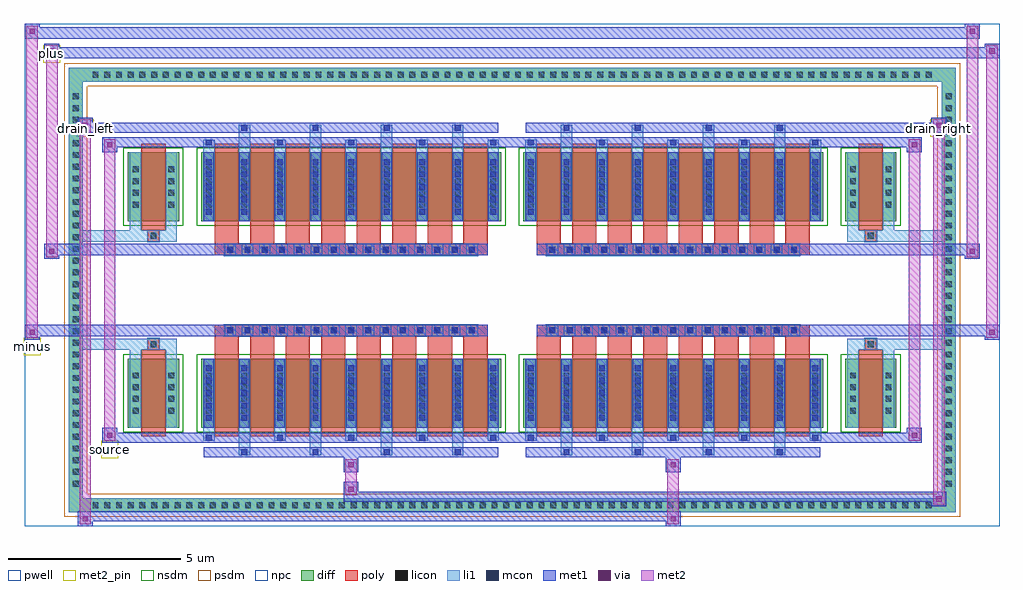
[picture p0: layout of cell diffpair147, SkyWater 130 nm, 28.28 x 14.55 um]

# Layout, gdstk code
import gdstk
lib = gdstk.Library(unit=1e-6, precision=5e-09)
def R(c, l, rs):  # rectangles x0, y0, x1, y1
    for r in rs: c.add(gdstk.rectangle(r[:2], r[2:], *l))
def A(c, l, x, y, w, h, nx, ny, dx, dy):  # array of equal rectangles
    R(c, l, [(x+i*dx, y+j*dy, x+i*dx+w, y+j*dy+h) for i in range(nx) for j in range(ny)])
def P(c, l, *ps):  # polygons
    for p in ps: c.add(gdstk.Polygon(p, *l))
pwell = (64, 44)
diff = (65, 20)
poly = (66, 20)
licon = (66, 44)
li1 = (67, 20)
mcon = (67, 44)
met1 = (68, 20)
via = (68, 44)
met2_pin = (69, 16)
met2 = (69, 20)
nsdm = (93, 44)
psdm = (94, 20)
npc = (95, 20)

diffpair147 = lib.new_cell('diffpair147')
R(diffpair147, pwell, [(-14.12,-6.84,14.12,7.71), (-11.44,-5.03,-0.01,-0.805), (0.01,-5.03,11.44,-0.805), (-11.44,0.805,-0.01,5.03), (0.01,0.805,11.44,5.03)])
A(diffpair147, diff, -12.275, -6.44, 0.41, 0.41, 72, 2, 0.34, 12.47)
A(diffpair147, diff, -12.85, -5.815, 0.41, 0.41, 1, 34, 0, 0.34)
A(diffpair147, diff, 12.44, -5.815, 0.41, 0.41, 1, 34, 0, 0.34)
R(diffpair147, diff, [(-12.275,-6.44,12.275,-6.03), (-12.85,-5.815,-12.44,5.815), (12.44,-5.815,12.85,5.815), (-11.13,-3.985,-9.65,-1.985), (-9.01,-3.985,-0.32,-1.985), (0.32,-3.985,9.01,-1.985), (9.65,-3.985,11.13,-1.985), (-11.13,1.985,-9.65,3.985), (-9.01,1.985,-0.32,3.985), (0.32,1.985,9.01,3.985), (9.65,1.985,11.13,3.985), (-12.275,6.03,12.275,6.44)])
P(diffpair147, diff, [(12.85,6.44),(-12.85,6.44),(-12.85,-6.03),(-12.44,-6.03),(-12.44,6.03),(12.44,6.03),(12.44,-6.03),(-12.44,-6.03),(-12.85,-6.03),(-12.85,-6.44),(12.85,-6.44)])
A(diffpair147, poly, -8.62, -4.235, 0.7, 2.5, 8, 2, 1.03, 5.97)
A(diffpair147, poly, 0.71, -4.235, 0.7, 2.5, 8, 2, 1.03, 5.97)
A(diffpair147, poly, -8.62, -1.735, 0.7, 0.4, 8, 2, 1.03, 3.07)
A(diffpair147, poly, 0.71, -1.735, 0.7, 0.4, 8, 2, 1.03, 3.07)
A(diffpair147, poly, -8.33, -1.335, 0.33, 0.33, 15, 2, 0.5, 2.34)
A(diffpair147, poly, 1, -1.335, 0.33, 0.33, 15, 2, 0.5, 2.34)
R(diffpair147, poly, [(-10.74,-4.235,-10.04,-1.735), (10.04,-4.235,10.74,-1.735), (-10.555,-1.735,-10.225,-1.405), (-10.555,-1.735,-10.225,-1.405), (10.225,-1.735,10.555,-1.405), (10.225,-1.735,10.555,-1.405), (-8.62,-1.335,-0.71,-1.005), (0.71,-1.335,8.62,-1.005), (-8.62,1.005,-0.71,1.335), (0.71,1.005,8.62,1.335), (-10.555,1.405,-10.225,1.735), (-10.555,1.405,-10.225,1.735), (10.225,1.405,10.555,1.735), (10.225,1.405,10.555,1.735), (-10.74,1.735,-10.04,4.235), (10.04,1.735,10.74,4.235)])
A(diffpair147, licon, -12.155, -6.32, 0.17, 0.17, 72, 2, 0.34, 12.47)
A(diffpair147, licon, -12.73, -5.695, 0.17, 0.17, 1, 34, 0, 0.34)
A(diffpair147, licon, 12.56, -5.695, 0.17, 0.17, 1, 34, 0, 0.34)
A(diffpair147, licon, -10.99, -3.58, 0.17, 0.17, 1, 4, 0, 0.34)
A(diffpair147, licon, -9.96, -3.58, 0.17, 0.17, 1, 4, 0, 0.34)
A(diffpair147, licon, -8.87, -3.58, 0.17, 0.17, 9, 4, 1.03, 0.34)
A(diffpair147, licon, 0.46, -3.58, 0.17, 0.17, 9, 4, 1.03, 0.34)
A(diffpair147, licon, 9.79, -3.58, 0.17, 0.17, 1, 4, 0, 0.34)
A(diffpair147, licon, 10.82, -3.58, 0.17, 0.17, 1, 4, 0, 0.34)
A(diffpair147, licon, -8.25, -1.255, 0.17, 0.17, 15, 2, 0.5, 2.34)
A(diffpair147, licon, 1.08, -1.255, 0.17, 0.17, 15, 2, 0.5, 2.34)
A(diffpair147, licon, -10.99, 2.39, 0.17, 0.17, 1, 4, 0, 0.34)
A(diffpair147, licon, -9.96, 2.39, 0.17, 0.17, 1, 4, 0, 0.34)
A(diffpair147, licon, -8.87, 2.39, 0.17, 0.17, 9, 4, 1.03, 0.34)
A(diffpair147, licon, 0.46, 2.39, 0.17, 0.17, 9, 4, 1.03, 0.34)
A(diffpair147, licon, 9.79, 2.39, 0.17, 0.17, 1, 4, 0, 0.34)
A(diffpair147, licon, 10.82, 2.39, 0.17, 0.17, 1, 4, 0, 0.34)
R(diffpair147, licon, [(-10.475,-1.655,-10.305,-1.485), (10.305,-1.655,10.475,-1.485), (-10.475,1.485,-10.305,1.655), (10.305,1.485,10.475,1.655)])
A(diffpair147, li1, -12.235, -6.4, 0.33, 0.33, 72, 2, 0.34, 12.47)
A(diffpair147, li1, -12.81, -5.775, 0.33, 0.33, 1, 34, 0, 0.34)
A(diffpair147, li1, 12.48, -5.775, 0.33, 0.33, 1, 34, 0, 0.34)
A(diffpair147, li1, -7.92, -4.79, 0.33, 0.805, 4, 2, 2.06, 8.775)
A(diffpair147, li1, -7.84, -4.79, 0.17, 0.17, 4, 2, 2.06, 9.41)
A(diffpair147, li1, 1.41, -4.79, 0.33, 0.805, 4, 2, 2.06, 8.775)
A(diffpair147, li1, 1.49, -4.79, 0.17, 0.17, 4, 2, 2.06, 9.41)
A(diffpair147, li1, -8.95, -4.36, 0.33, 0.375, 5, 2, 2.06, 8.345)
A(diffpair147, li1, -8.87, -4.36, 0.17, 0.17, 5, 2, 2.06, 8.55)
A(diffpair147, li1, 0.38, -4.36, 0.33, 0.375, 5, 2, 2.06, 8.345)
A(diffpair147, li1, 0.46, -4.36, 0.17, 0.17, 5, 2, 2.06, 8.55)
A(diffpair147, li1, -8.95, -3.985, 0.33, 2, 9, 2, 1.03, 5.97)
A(diffpair147, li1, 0.38, -3.985, 0.33, 2, 9, 2, 1.03, 5.97)
A(diffpair147, li1, -8.87, -3.79, 0.17, 0.17, 9, 5, 1.03, 0.36)
A(diffpair147, li1, -8.87, -3.79, 0.17, 1.61, 9, 2, 1.03, 5.97)
A(diffpair147, li1, 0.46, -3.79, 0.17, 0.17, 9, 5, 1.03, 0.36)
A(diffpair147, li1, 0.46, -3.79, 0.17, 1.61, 9, 2, 1.03, 5.97)
A(diffpair147, li1, -11.07, -3.66, 0.33, 0.33, 1, 4, 0, 0.34)
A(diffpair147, li1, -10.04, -3.66, 0.33, 0.33, 1, 4, 0, 0.34)
A(diffpair147, li1, -8.95, -3.66, 0.33, 0.33, 9, 4, 1.03, 0.34)
A(diffpair147, li1, 0.38, -3.66, 0.33, 0.33, 9, 4, 1.03, 0.34)
A(diffpair147, li1, 9.71, -3.66, 0.33, 0.33, 1, 4, 0, 0.34)
A(diffpair147, li1, 10.74, -3.66, 0.33, 0.33, 1, 4, 0, 0.34)
A(diffpair147, li1, -8.33, -1.335, 0.33, 0.33, 15, 2, 0.5, 2.34)
A(diffpair147, li1, 1, -1.335, 0.33, 0.33, 15, 2, 0.5, 2.34)
A(diffpair147, li1, -8.87, 2.18, 0.17, 0.17, 9, 5, 1.03, 0.36)
A(diffpair147, li1, 0.46, 2.18, 0.17, 0.17, 9, 5, 1.03, 0.36)
A(diffpair147, li1, -11.07, 2.31, 0.33, 0.33, 1, 4, 0, 0.34)
A(diffpair147, li1, -10.04, 2.31, 0.33, 0.33, 1, 4, 0, 0.34)
A(diffpair147, li1, -8.95, 2.31, 0.33, 0.33, 9, 4, 1.03, 0.34)
A(diffpair147, li1, 0.38, 2.31, 0.33, 0.33, 9, 4, 1.03, 0.34)
A(diffpair147, li1, 9.71, 2.31, 0.33, 0.33, 1, 4, 0, 0.34)
A(diffpair147, li1, 10.74, 2.31, 0.33, 0.33, 1, 4, 0, 0.34)
R(diffpair147, li1, [(-12.85,-6.44,-12.44,-6.03), (-12.85,-6.44,-12.44,-6.03), (-12.44,-6.44,12.44,-6.03), (12.44,-6.44,12.85,-6.03), (12.44,-6.44,12.85,-6.03), (-12.85,-6.03,-12.44,6.03), (12.44,-6.03,12.85,6.03), (-11.07,-3.985,-10.74,-1.985), (-10.04,-3.985,-9.71,-1.985), (9.71,-3.985,10.04,-1.985), (10.74,-3.985,11.07,-1.985), (-11.07,-1.985,-10.74,-1.405), (-10.04,-1.985,-9.71,-1.405), (9.71,-1.985,10.04,-1.405), (10.74,-1.985,11.07,-1.405), (-12.85,-1.735,-10.555,-1.405), (-11.07,-1.735,-10.555,-1.405), (-10.555,-1.735,-10.225,-1.405), (-10.225,-1.735,-9.71,-1.405), (9.71,-1.735,10.225,-1.405), (10.225,-1.735,10.555,-1.405), (10.225,-1.735,12.85,-1.405), (10.555,-1.735,11.07,-1.405), (-12.85,1.405,-10.555,1.735), (-11.07,1.405,-10.555,1.735), (-11.07,1.405,-10.74,1.985), (-10.555,1.405,-10.225,1.735), (-10.225,1.405,-9.71,1.735), (-10.04,1.405,-9.71,1.985), (9.71,1.405,10.225,1.735), (9.71,1.405,10.04,1.985), (10.225,1.405,10.555,1.735), (10.225,1.405,12.85,1.735), (10.555,1.405,11.07,1.735), (10.74,1.405,11.07,1.985), (-11.07,1.985,-10.74,3.985), (-10.04,1.985,-9.71,3.985), (9.71,1.985,10.04,3.985), (10.74,1.985,11.07,3.985), (-12.85,6.03,-12.44,6.44), (-12.85,6.03,-12.44,6.44), (-12.44,6.03,12.44,6.44), (12.44,6.03,12.85,6.44), (12.44,6.03,12.85,6.44)])
A(diffpair147, mcon, -7.84, -4.79, 0.17, 0.17, 4, 2, 2.06, 9.41)
A(diffpair147, mcon, 1.49, -4.79, 0.17, 0.17, 4, 2, 2.06, 9.41)
A(diffpair147, mcon, -8.87, -4.36, 0.17, 0.17, 5, 2, 2.06, 8.55)
A(diffpair147, mcon, 0.46, -4.36, 0.17, 0.17, 5, 2, 2.06, 8.55)
A(diffpair147, mcon, -8.87, -3.79, 0.17, 0.17, 9, 5, 1.03, 0.36)
A(diffpair147, mcon, 0.46, -3.79, 0.17, 0.17, 9, 5, 1.03, 0.36)
A(diffpair147, mcon, -8.25, -1.255, 0.17, 0.17, 15, 2, 0.5, 2.34)
A(diffpair147, mcon, 1.08, -1.255, 0.17, 0.17, 15, 2, 0.5, 2.34)
A(diffpair147, mcon, -8.87, 2.18, 0.17, 0.17, 9, 5, 1.03, 0.36)
A(diffpair147, mcon, 0.46, 2.18, 0.17, 0.17, 9, 5, 1.03, 0.36)
A(diffpair147, met1, -7.9, -4.85, 0.29, 0.29, 4, 2, 2.06, 9.41)
A(diffpair147, met1, 1.43, -4.85, 0.29, 0.29, 4, 2, 2.06, 9.41)
A(diffpair147, met1, -8.93, -4.42, 0.29, 0.29, 5, 2, 2.06, 8.55)
A(diffpair147, met1, 0.4, -4.42, 0.29, 0.29, 5, 2, 2.06, 8.55)
A(diffpair147, met1, -8.93, -3.985, 0.29, 2, 9, 2, 1.03, 5.97)
A(diffpair147, met1, 0.4, -3.985, 0.29, 2, 9, 2, 1.03, 5.97)
A(diffpair147, met1, -8.93, -3.85, 0.29, 0.29, 9, 5, 1.03, 0.36)
A(diffpair147, met1, 0.4, -3.85, 0.29, 0.29, 9, 5, 1.03, 0.36)
A(diffpair147, met1, -8.31, -1.315, 0.29, 0.29, 15, 2, 0.5, 2.34)
A(diffpair147, met1, 1.02, -1.315, 0.29, 0.29, 15, 2, 0.5, 2.34)
A(diffpair147, met1, -8.93, 2.12, 0.29, 0.29, 9, 5, 1.03, 0.36)
A(diffpair147, met1, 0.4, 2.12, 0.29, 0.29, 9, 5, 1.03, 0.36)
R(diffpair147, met1, [(-12.58,-6.84,-12.15,-6.41), (4.45,-6.84,4.88,-6.41), (-12.58,-6.7,4.88,-6.41), (12.15,-6.27,12.58,-5.84), (-4.88,-6.13,12.58,-5.84), (-4.88,-5.99,-4.45,-5.56), (-4.88,-5.28,-4.45,-4.85), (4.45,-5.28,4.88,-4.85), (-8.93,-4.85,-0.4,-4.56), (0.4,-4.85,8.93,-4.56), (-11.87,-4.42,-11.44,-3.99), (-11.87,-4.42,-8.93,-4.13), (-8.93,-4.42,-0.4,-4.13), (-0.4,-4.42,0.4,-4.13), (0.4,-4.42,8.93,-4.13), (8.93,-4.42,11.87,-4.13), (11.44,-4.42,11.87,-3.99), (-14.12,-1.435,-13.69,-1.005), (13.69,-1.435,14.12,-1.005), (-14.12,-1.335,-0.71,-1.005), (-8.62,-1.335,-0.71,-1.005), (0.71,-1.335,8.62,-1.005), (0.71,-1.335,14.12,-1.005), (-13.55,0.905,-13.12,1.335), (13.12,0.905,13.55,1.335), (-13.55,1.005,-8.62,1.335), (-8.62,1.005,-0.71,1.335), (0.71,1.005,8.62,1.335), (8.62,1.005,13.55,1.335), (-11.87,3.99,-11.44,4.42), (11.44,3.99,11.87,4.42), (-11.87,4.13,-8.93,4.42), (-8.93,4.13,-0.4,4.42), (-0.4,4.13,0.4,4.42), (0.4,4.13,8.93,4.42), (8.93,4.13,11.87,4.42), (-12.58,4.56,-12.15,4.99), (-12.58,4.56,-8.93,4.85), (-8.93,4.56,-0.4,4.85), (0.4,4.56,8.93,4.85), (8.93,4.56,12.58,4.85), (12.15,4.56,12.58,4.99), (-13.55,6.71,-13.12,7.14), (-13.55,6.71,-11.44,7.04), (-11.44,6.71,11.44,7.04), (11.44,6.71,14.12,7.04), (13.69,6.71,14.12,7.14), (-14.12,7.28,-13.69,7.71), (-14.12,7.28,-11.44,7.61), (-11.44,7.28,11.44,7.61), (11.44,7.28,13.55,7.61), (13.12,7.28,13.55,7.71)])
R(diffpair147, via, [(-12.44,-6.7,-12.29,-6.55), (4.59,-6.7,4.74,-6.55), (12.29,-6.13,12.44,-5.98), (-4.74,-5.85,-4.59,-5.7), (-4.74,-5.14,-4.59,-4.99), (4.59,-5.14,4.74,-4.99), (-11.73,-4.28,-11.58,-4.13), (11.58,-4.28,11.73,-4.13), (-13.98,-1.295,-13.83,-1.145), (13.83,-1.295,13.98,-1.145), (-13.41,1.045,-13.26,1.195), (13.26,1.045,13.41,1.195), (-11.73,4.13,-11.58,4.28), (11.58,4.13,11.73,4.28), (-12.44,4.7,-12.29,4.85), (12.29,4.7,12.44,4.85), (-13.41,6.85,-13.26,7), (13.83,6.85,13.98,7), (-13.98,7.42,-13.83,7.57), (13.26,7.42,13.41,7.57)])
R(diffpair147, met2_pin, [(-11.905,-4.87,-11.405,-4.37), (-14.155,-1.885,-13.655,-1.385), (-12.615,4.44,-12.115,4.94), (12.115,4.44,12.615,4.94), (-13.585,6.59,-13.085,7.09)])
R(diffpair147, met2, [(-12.53,-6.79,-12.2,-6.46), (-12.53,-6.79,-12.2,4.94), (4.5,-6.79,4.83,-6.46), (4.5,-6.46,4.83,-5.23), (12.2,-6.22,12.53,-5.89), (12.2,-6.22,12.53,4.94), (-4.83,-5.94,-4.5,-5.61), (-4.83,-5.61,-4.5,-5.23), (-4.83,-5.23,-4.5,-4.9), (4.5,-5.23,4.83,-4.9), (-11.82,-4.37,-11.49,-4.04), (-11.82,-4.37,-11.49,4.37), (11.49,-4.37,11.82,-4.04), (11.49,-4.37,11.82,4.37), (-14.07,-1.385,-13.74,-1.055), (-14.07,-1.385,-13.74,7.66), (13.74,-1.385,14.07,-1.055), (13.74,-1.385,14.07,7.09), (-13.5,0.955,-13.17,1.285), (-13.5,0.955,-13.17,7.09), (13.17,0.955,13.5,1.285), (13.17,0.955,13.5,7.66), (-11.82,4.04,-11.49,4.37), (11.49,4.04,11.82,4.37), (-12.53,4.61,-12.2,4.94), (12.2,4.61,12.53,4.94), (-13.5,6.76,-13.17,7.09), (13.74,6.76,14.07,7.09), (-14.07,7.33,-13.74,7.66), (13.17,7.33,13.5,7.66)])
P(diffpair147, met2, [(14.07,-1.385),(14.07,-1.385),(14.07,-1.055),(14.07,-1.055)],
  [(14.07,6.76),(14.07,6.76),(14.07,7.09),(14.07,7.09)],
  [(-13.74,-1.385),(-13.74,-1.385),(-13.74,-1.055),(-13.74,-1.055)],
  [(-13.74,7.33),(-13.74,7.33),(-13.74,7.66),(-13.74,7.66)],
  [(13.5,0.955),(13.5,0.955),(13.5,1.285),(13.5,1.285)],
  [(13.5,7.33),(13.5,7.33),(13.5,7.66),(13.5,7.66)],
  [(-13.17,0.955),(-13.17,0.955),(-13.17,1.285),(-13.17,1.285)],
  [(-13.17,6.76),(-13.17,6.76),(-13.17,7.09),(-13.17,7.09)],
  [(-12.2,-6.79),(-12.2,-6.79),(-12.2,-6.46),(-12.2,-6.46)],
  [(-12.2,4.61),(-12.2,4.61),(-12.2,4.94),(-12.2,4.94)],
  [(12.53,-6.22),(12.53,-6.22),(12.53,-5.89),(12.53,-5.89)],
  [(12.53,4.61),(12.53,4.61),(12.53,4.94),(12.53,4.94)],
  [(-11.49,-4.37),(-11.49,-4.37),(-11.49,-4.04),(-11.49,-4.04)],
  [(-11.49,4.04),(-11.49,4.04),(-11.49,4.37),(-11.49,4.37)],
  [(11.82,-4.37),(11.82,-4.37),(11.82,-4.04),(11.82,-4.04)],
  [(11.82,4.04),(11.82,4.04),(11.82,4.37),(11.82,4.37)])
R(diffpair147, nsdm, [(-11.26,-4.115,-9.52,-1.855), (-9.14,-4.115,-0.19,-1.855), (0.19,-4.115,9.14,-1.855), (9.52,-4.115,11.26,-1.855), (-11.26,1.855,-9.52,4.115), (-9.14,1.855,-0.19,4.115), (0.19,1.855,9.14,4.115), (9.52,1.855,11.26,4.115)])
P(diffpair147, psdm, [(12.98,6.57),(-12.98,6.57),(-12.98,-5.9),(-12.31,-5.9),(-12.31,5.9),(12.31,5.9),(12.31,-5.9),(-12.31,-5.9),(-12.98,-5.9),(-12.98,-6.57),(12.98,-6.57)])
A(diffpair147, npc, -8.35, -1.355, 0.37, 0.37, 15, 2, 0.5, 2.34)
A(diffpair147, npc, 0.98, -1.355, 0.37, 0.37, 15, 2, 0.5, 2.34)
R(diffpair147, npc, [(-10.575,-1.755,-10.205,-1.385), (10.205,-1.755,10.575,-1.385), (-8.35,-1.355,-7.48,-0.985), (-8.35,-1.355,-7.48,-0.985), (-7.85,-1.355,-6.98,-0.985), (-7.85,-1.355,-6.98,-0.985), (-7.35,-1.355,-6.48,-0.985), (-7.35,-1.355,-6.48,-0.985), (-6.85,-1.355,-5.98,-0.985), (-6.85,-1.355,-5.98,-0.985), (-6.35,-1.355,-5.48,-0.985), (-6.35,-1.355,-5.48,-0.985), (-5.85,-1.355,-4.98,-0.985), (-5.85,-1.355,-4.98,-0.985), (-5.35,-1.355,-4.48,-0.985), (-5.35,-1.355,-4.48,-0.985), (-4.85,-1.355,-3.98,-0.985), (-4.85,-1.355,-3.98,-0.985), (-4.35,-1.355,-3.48,-0.985), (-4.35,-1.355,-3.48,-0.985), (-3.85,-1.355,-2.98,-0.985), (-3.85,-1.355,-2.98,-0.985), (-3.35,-1.355,-2.48,-0.985), (-3.35,-1.355,-2.48,-0.985), (-2.85,-1.355,-1.98,-0.985), (-2.85,-1.355,-1.98,-0.985), (-2.35,-1.355,-1.48,-0.985), (-2.35,-1.355,-1.48,-0.985), (-1.85,-1.355,-0.98,-0.985), (-1.85,-1.355,-0.98,-0.985), (0.98,-1.355,1.85,-0.985), (0.98,-1.355,1.85,-0.985), (1.48,-1.355,2.35,-0.985), (1.48,-1.355,2.35,-0.985), (1.98,-1.355,2.85,-0.985), (1.98,-1.355,2.85,-0.985), (2.48,-1.355,3.35,-0.985), (2.48,-1.355,3.35,-0.985), (2.98,-1.355,3.85,-0.985), (2.98,-1.355,3.85,-0.985), (3.48,-1.355,4.35,-0.985), (3.48,-1.355,4.35,-0.985), (3.98,-1.355,4.85,-0.985), (3.98,-1.355,4.85,-0.985), (4.48,-1.355,5.35,-0.985), (4.48,-1.355,5.35,-0.985), (4.98,-1.355,5.85,-0.985), (4.98,-1.355,5.85,-0.985), (5.48,-1.355,6.35,-0.985), (5.48,-1.355,6.35,-0.985), (5.98,-1.355,6.85,-0.985), (5.98,-1.355,6.85,-0.985), (6.48,-1.355,7.35,-0.985), (6.48,-1.355,7.35,-0.985), (6.98,-1.355,7.85,-0.985), (6.98,-1.355,7.85,-0.985), (7.48,-1.355,8.35,-0.985), (7.48,-1.355,8.35,-0.985), (-8.35,0.985,-7.48,1.355), (-8.35,0.985,-7.48,1.355), (-7.85,0.985,-6.98,1.355), (-7.85,0.985,-6.98,1.355), (-7.35,0.985,-6.48,1.355), (-7.35,0.985,-6.48,1.355), (-6.85,0.985,-5.98,1.355), (-6.85,0.985,-5.98,1.355), (-6.35,0.985,-5.48,1.355), (-6.35,0.985,-5.48,1.355), (-5.85,0.985,-4.98,1.355), (-5.85,0.985,-4.98,1.355), (-5.35,0.985,-4.48,1.355), (-5.35,0.985,-4.48,1.355), (-4.85,0.985,-3.98,1.355), (-4.85,0.985,-3.98,1.355), (-4.35,0.985,-3.48,1.355), (-4.35,0.985,-3.48,1.355), (-3.85,0.985,-2.98,1.355), (-3.85,0.985,-2.98,1.355), (-3.35,0.985,-2.48,1.355), (-3.35,0.985,-2.48,1.355), (-2.85,0.985,-1.98,1.355), (-2.85,0.985,-1.98,1.355), (-2.35,0.985,-1.48,1.355), (-2.35,0.985,-1.48,1.355), (-1.85,0.985,-0.98,1.355), (-1.85,0.985,-0.98,1.355), (0.98,0.985,1.85,1.355), (0.98,0.985,1.85,1.355), (1.48,0.985,2.35,1.355), (1.48,0.985,2.35,1.355), (1.98,0.985,2.85,1.355), (1.98,0.985,2.85,1.355), (2.48,0.985,3.35,1.355), (2.48,0.985,3.35,1.355), (2.98,0.985,3.85,1.355), (2.98,0.985,3.85,1.355), (3.48,0.985,4.35,1.355), (3.48,0.985,4.35,1.355), (3.98,0.985,4.85,1.355), (3.98,0.985,4.85,1.355), (4.48,0.985,5.35,1.355), (4.48,0.985,5.35,1.355), (4.98,0.985,5.85,1.355), (4.98,0.985,5.85,1.355), (5.48,0.985,6.35,1.355), (5.48,0.985,6.35,1.355), (5.98,0.985,6.85,1.355), (5.98,0.985,6.85,1.355), (6.48,0.985,7.35,1.355), (6.48,0.985,7.35,1.355), (6.98,0.985,7.85,1.355), (6.98,0.985,7.85,1.355), (7.48,0.985,8.35,1.355), (7.48,0.985,8.35,1.355), (-10.575,1.385,-10.205,1.755), (10.205,1.385,10.575,1.755)])
diffpair147.add(gdstk.Label('minus', (-13.905,-1.635), layer=69, texttype=5))
diffpair147.add(gdstk.Label('drain_right', (12.365,4.69), layer=69, texttype=5))
diffpair147.add(gdstk.Label('drain_left', (-12.365,4.69), layer=69, texttype=5))
diffpair147.add(gdstk.Label('source', (-11.655,-4.62), layer=69, texttype=5))
diffpair147.add(gdstk.Label('plus', (-13.335,6.84), layer=69, texttype=5))

lib.write_gds('diffpair147.gds')
